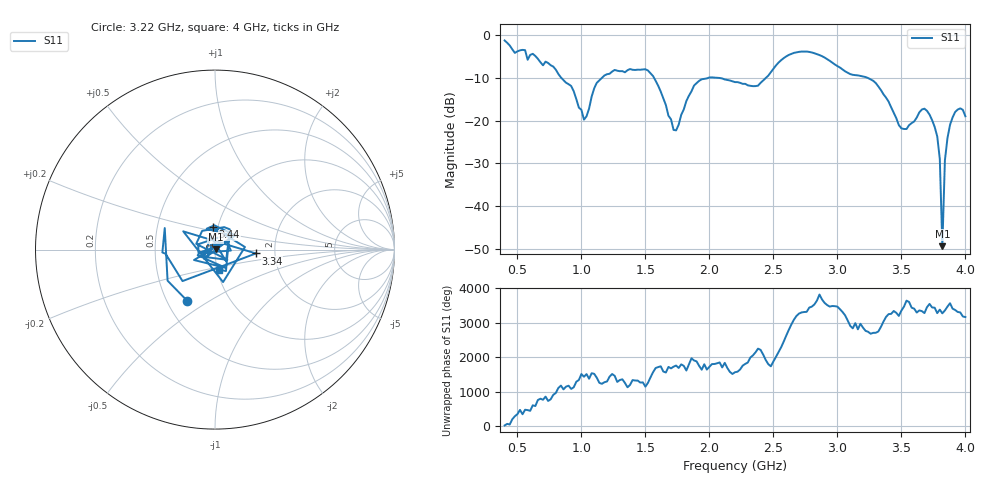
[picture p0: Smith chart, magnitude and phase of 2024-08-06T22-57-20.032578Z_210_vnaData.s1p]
!Created with skrf (http://scikit-rf.org).
# Hz S RI R 50.0
!freq ReS11 ImS11
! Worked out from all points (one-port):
!   181 points, 400 MHz to 4 GHz, reference 50 ohm
!   lowest |S11| = -49.4 dB at 3.82 GHz (marker M1), VSWR 1.01, Z = 50.3 + j0.156 ohm
!   |S11| at or under -10 dB: 1.568 GHz to 1.988 GHz (419.5 MHz wide, 23.6 % of centre); 2.082 GHz to 2.44 GHz (357.6 MHz wide, 15.8 % of centre); 3.239 GHz to end of sweep (the widest 3 of 4)
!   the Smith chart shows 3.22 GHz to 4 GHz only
!   S11 on the Smith chart (normalised r, x): 3.22 GHz: 0.63, -0.40; 3.34 GHz: 1.59, -0.07; 3.44 GHz: 0.95, +0.24; 4 GHz: 1.01, -0.23
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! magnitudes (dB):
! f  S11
! 400 MHz  -1.2
! 860 MHz  -10.5
! 920 MHz  -11.9
! 1.02 GHz  -19.7
! 1.12 GHz  -11.1
! 1.3 GHz  -8.4
! 1.52 GHz  -8.2
! 1.62 GHz  -13.2
! 1.72 GHz  -22.1
! 1.76 GHz  -20.9
! 1.92 GHz  -10.7
! 2.2 GHz  -11.0
! 2.38 GHz  -11.8
! 2.66 GHz  -4.1
! 3.1 GHz  -9.1
! 3.22 GHz  -9.8
! 3.34 GHz  -12.8
! 3.44 GHz  -18.1
! 3.5 GHz  -21.8
! 3.56 GHz  -21.0
! 3.68 GHz  -17.2
! 3.76 GHz  -21.4
! 3.8 GHz  -28.9
! 3.82 GHz  -49.4
! 3.84 GHz  -29.2
! 3.86 GHz  -24.1
! 3.92 GHz  -18.0
! 4 GHz  -19.0
